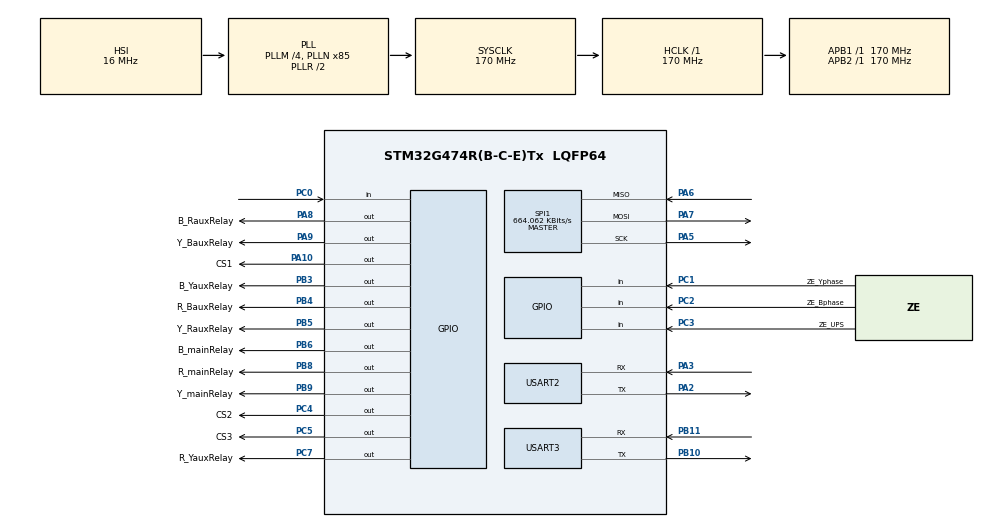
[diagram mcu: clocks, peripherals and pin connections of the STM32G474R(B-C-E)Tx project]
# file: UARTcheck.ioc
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ADC1.Channel-0\#ChannelRegularConversion=ADC_CHANNEL_VBAT
ADC1.NbrOfConversion=1
ADC1.NbrOfConversionFlag=1
ADC1.OffsetNumber-0\#ChannelRegularConversion=ADC_OFFSET_NONE
ADC1.Rank-0\#ChannelRegularConversion=1
ADC1.SamplingTime-0\#ChannelRegularConversion=ADC_SAMPLETIME_2CYCLES_5
ADC1.master=1
Dma.Request0=USART3_RX
Dma.USART3_RX.0.Direction=DMA_PERIPH_TO_MEMORY
Dma.USART3_RX.0.EventEnable=DISABLE
Dma.USART3_RX.0.Instance=DMA1_Channel1
Dma.USART3_RX.0.MemDataAlignment=DMA_MDATAALIGN_BYTE
Dma.USART3_RX.0.MemInc=DMA_MINC_ENABLE
Dma.USART3_RX.0.Mode=DMA_NORMAL
Dma.USART3_RX.0.PeriphDataAlignment=DMA_PDATAALIGN_BYTE
Dma.USART3_RX.0.PeriphInc=DMA_PINC_DISABLE
Dma.USART3_RX.0.Polarity=HAL_DMAMUX_REQ_GEN_RISING
Dma.USART3_RX.0.Priority=DMA_PRIORITY_MEDIUM
Dma.USART3_RX.0.RequestNumber=1
Dma.USART3_RX.0.SignalID=NONE
Dma.USART3_RX.0.SyncEnable=DISABLE
Dma.USART3_RX.0.SyncPolarity=HAL_DMAMUX_SYNC_NO_EVENT
Dma.USART3_RX.0.SyncRequestNumber=1
Dma.USART3_RX.0.SyncSignalID=NONE
Mcu.Family=STM32G4
Mcu.Name=STM32G474R(B-C-E)Tx
Mcu.Package=LQFP64
NVIC.DMA1_Channel1_IRQn=true\:0\:0\:false\:false\:true\:false\:true\:true
NVIC.PriorityGroup=NVIC_PRIORITYGROUP_4
NVIC.USART3_IRQn=true\:0\:0\:false\:false\:true\:true\:true\:true
PA10.GPIO_Label=CS1
PA10.Signal=GPIO_Output
PA2.Mode=Asynchronous
PA2.Signal=USART2_TX
PA3.Mode=Asynchronous
PA3.Signal=USART2_RX
PA5.Mode=Full_Duplex_Master
PA5.Signal=SPI1_SCK
PA6.Mode=Full_Duplex_Master
PA6.Signal=SPI1_MISO
PA7.Mode=Full_Duplex_Master
PA7.Signal=SPI1_MOSI
PA8.GPIO_Label=B_RauxRelay
PA8.Signal=GPIO_Output
PA9.GPIO_Label=Y_BauxRelay
PA9.Signal=GPIO_Output
PB10.Mode=Asynchronous
PB10.Signal=USART3_TX
PB11.Mode=Asynchronous
PB11.Signal=USART3_RX
PB3.GPIO_Label=B_YauxRelay
PB3.Signal=GPIO_Output
PB4.GPIO_Label=R_BauxRelay
PB4.Signal=GPIO_Output
PB5.GPIO_Label=Y_RauxRelay
PB5.Signal=GPIO_Output
PB6.GPIO_Label=B_mainRelay
PB6.Signal=GPIO_Output
PB8-BOOT0.GPIO_Label=R_mainRelay
PB8-BOOT0.Signal=GPIO_Output
PB9.GPIO_Label=Y_mainRelay
PB9.Signal=GPIO_Output
PC0.Signal=GPIO_Input
PC1.GPIO_Label=ZE_Yphase
PC1.Signal=GPIO_Input
PC14-OSC32_IN.Mode=LSE-External-Oscillator
PC14-OSC32_IN.Signal=RCC_OSC32_IN
PC15-OSC32_OUT.Mode=LSE-External-Oscillator
PC15-OSC32_OUT.Signal=RCC_OSC32_OUT
PC2.GPIO_Label=ZE_Bphase
PC2.Signal=GPIO_Input
PC3.GPIO_Label=ZE_UPS
PC3.Signal=GPIO_Input
PC4.GPIO_Label=CS2
PC4.Signal=GPIO_Output
PC5.GPIO_Label=CS3
PC5.Signal=GPIO_Output
PC7.GPIO_Label=R_YauxRelay
PC7.Signal=GPIO_Output
ProjectManager.HeapSize=0x200
ProjectManager.StackSize=0x400
ProjectManager.TargetToolchain=STM32CubeIDE
RCC.ADC12Freq_Value=170000000
RCC.ADC345Freq_Value=170000000
RCC.AHBFreq_Value=170000000
RCC.APB1Freq_Value=170000000
RCC.APB1TimFreq_Value=170000000
RCC.APB2Freq_Value=170000000
RCC.APB2TimFreq_Value=170000000
RCC.CortexFreq_Value=170000000
RCC.EXTERNAL_CLOCK_VALUE=12288000
RCC.HCLKFreq_Value=170000000
RCC.HSE_VALUE=24000000
RCC.HSI48_VALUE=48000000
RCC.HSI_VALUE=16000000
RCC.PLLM=RCC_PLLM_DIV4
RCC.PLLN=85
RCC.RTCClockSelection=RCC_RTCCLKSOURCE_LSE
RCC.SYSCLKFreq_VALUE=170000000
RCC.SYSCLKSource=RCC_SYSCLKSOURCE_PLLCLK
RCC.USBFreq_Value=170000000
RCC.VCOOutputFreq_Value=340000000
RTC.Date=20
RTC.HourFormat=RTC_HOURFORMAT_24
RTC.Hours=12
RTC.Minutes=23
RTC.Month=RTC_MONTH_AUGUST
RTC.WeekDay=RTC_WEEKDAY_THURSDAY
SPI1.BaudRatePrescaler=SPI_BAUDRATEPRESCALER_256
SPI1.CLKPhase=SPI_PHASE_2EDGE
SPI1.CalculateBaudRate=664.062 KBits/s
SPI1.DataSize=SPI_DATASIZE_8BIT
SPI1.Direction=SPI_DIRECTION_2LINES
SPI1.Mode=SPI_MODE_MASTER
SPI1.VirtualType=VM_MASTER
USART2.VirtualMode-Asynchronous=VM_ASYNC
USART3.VirtualMode-Asynchronous=VM_ASYNC
VP_ADC1_Vbat_Input.Mode=IN-Vbat
VP_RTC_VS_RTC_Activate.Mode=RTC_Enabled
VP_RTC_VS_RTC_Calendar.Mode=RTC_Calendar
VP_SYS_VS_DBSignals.Mode=DisableDeadBatterySignals
board=NUCLEO-G474RE

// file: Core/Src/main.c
/* USER CODE BEGIN Header */
/**
  ******************************************************************************
  * @file           : main.c
  * @brief          : Main program body
  ******************************************************************************
  * @attention
  *
  * Copyright (c) 2026 STMicroelectronics.
  * All rights reserved.
  *
  * This software is licensed under terms that can be found in the LICENSE file
  * in the root directory of this software component.
  * If no LICENSE file comes with this software, it is provided AS-IS.
  *
  ******************************************************************************
  */
/* USER CODE END Header */
#include "main.h"

/* USER CODE BEGIN Includes */
#include "stm_selfupdate.h"

#include "Relay_controlling.h"
#include<stdio.h>
#include <string.h>
#include <time.h>

/* USER CODE END Includes */

/* USER CODE BEGIN PD */
#define CALIB_VOL1 14324.957805
#define CALIB_CUR1 301062.271062
#define CALIB_POW1 648.885586
#define CALIB_ENE1 4667.50266786

#define CALIB_VOL2 14374.3938844
#define CALIB_CUR2 345157.509157
#define CALIB_POW2 739.078751
#define CALIB_ENE2 5667.50266786

#define CALIB_VOL3 14388.8458298
#define CALIB_CUR3 304084.249084
#define CALIB_POW3 656.745913
#define CALIB_ENE3 5000.96266786

//#define CALIB_VOL 1
//#define CALIB_CUR 1
//#define CALIB_POW 1
//#define CALIB_ENE 1

/*RX buffer size deceleration*/
#define BUF_SIZE 256

#define OVERLOAD_DELAY 70000

/* USER CODE END PD */

ADC_HandleTypeDef hadc1;

RTC_HandleTypeDef hrtc;

SPI_HandleTypeDef hspi1;

UART_HandleTypeDef huart2;
UART_HandleTypeDef huart3;
DMA_HandleTypeDef hdma_usart3_rx;

/* USER CODE BEGIN PV */
uint8_t setupBL[6];
uint8_t txData[2];
uint8_t rxDataV1[4], rxDataV2[4], rxDataV3[4];
uint8_t rxDataC1[4], rxDataC2[4], rxDataC3[4];
uint8_t rxDataP1[4], rxDataP2[4], rxDataP3[4];
uint8_t rxDataE1[4], rxDataE2[4], rxDataE3[4];
volatile float  voltL1, voltL2, voltL3;
volatile float  curL1, curL2, curL3;
volatile float  powL1, powL2, powL3;
volatile float  eneL1, eneL2, eneL3;

unsigned short uartGoFlag;			//0b->v1, 1b->c1, 2b->p1, 3b->e1, 4b->v2, 5b->c2, 6b->p2, 7b->e2, 8b->v3, 9b->c3, 10b->p3, 11b->e3, 12b->"", 13b->"", 14b->"", 15b->"".
unsigned short relayStatus;
unsigned short contactorStatus;

volatile bool healthyRphase,healthyYphase,healthyBphase;
volatile bool RmainRelayState, YmainRelayState, BmainRelayState, RYauxRelayState, YRauxRelayState, YBauxRelayState, BYauxRelayState, RBauxRelayState, BRauxRelayState, UPSRelayState;
uint8_t Uart3RXbuffer[BUF_SIZE];
typedef struct PhaseProtection {
    bool enabled;
    float highV;   // Volts
    float lowV;    // Volts
    float highI;   // Amps (overload)
}PhaseProtection;

PhaseProtection prot[3];
uint8_t headerProtection = 0XCC, checkSum;
bool protCheckSumMismatch;
uint16_t voltLow[3],voltHigh[3],overload[3];
uint32_t overloadAlertL1StartTime,  overloadAlertL2StartTime, overloadAlertL3StartTime;
bool overloadAlertL1,overloadAlertL2,overloadAlertL3;
uint64_t receivedUnixTime;
bool timeSynced;

//__attribute__((section(".noinit"))) volatile uint32_t bootMagic;
/* USER CODE END PV */

void SystemClock_Config(void);
static void MX_GPIO_Init(void);
static void MX_DMA_Init(void);
static void MX_USART2_UART_Init(void);
static void MX_SPI1_Init(void);
static void MX_USART3_UART_Init(void);
static void MX_RTC_Init(void);
static void MX_ADC1_Init(void);
/* USER CODE BEGIN PFP */
int __io_putchar(int ch)
{
    HAL_UART_Transmit(&huart2, (uint8_t *)&ch, 1, HAL_MAX_DELAY);
    return ch;
}

/* USER CODE END PFP */

/* USER CODE BEGIN 0 */
uint8_t validateChecksum(uint8_t high, uint8_t mid, uint8_t low, uint8_t checksum){
	return checksum == (uint8_t) ~((high+mid+low)&0XFF);

}

void UARTcollection(uint16_t Size) {
	bool transfer = false;

	for (uint16_t i = 0; i < Size; i++) {
		if (Uart3RXbuffer[i] == headerProtection && (Size - i) >= 41) {
			transfer = true;
		}
	}
	checkSum = 0;
	for (int i = 1; i < 40; i++) {
		checkSum += Uart3RXbuffer[i];
	}
	checkSum = (~(checkSum & 0XFF));

	if (transfer && (checkSum == Uart3RXbuffer[40])) {
		prot[0].enabled = Uart3RXbuffer[1];
		memcpy((&prot[0].lowV), &Uart3RXbuffer[2], 4);
		memcpy((&prot[0].highV), &Uart3RXbuffer[6], 4);
		memcpy((&prot[0].highI), &Uart3RXbuffer[10], 4);
		prot[1].enabled = Uart3RXbuffer[14];
		memcpy((&prot[1].lowV), &Uart3RXbuffer[15], 4);
		memcpy((&prot[1].highV), &Uart3RXbuffer[19], 4);
		memcpy((&prot[1].highI), &Uart3RXbuffer[23], 4);
		prot[2].enabled = Uart3RXbuffer[27];
		memcpy((&prot[2].lowV), &Uart3RXbuffer[28], 4);
		memcpy((&prot[2].highV), &Uart3RXbuffer[32], 4);
		memcpy((&prot[2].highI), &Uart3RXbuffer[36], 4);
	}else{
		protCheckSumMismatch=true;
	}

//	printf(" L1 %d ->%f  %f  %f   \r\n", prot[0].enabled, prot[0].lowV,
//			prot[0].highV, prot[0].highI);
//	printf(" L2 %d ->%f  %f  %f   \r\n", prot[1].enabled, prot[1].lowV,
//			prot[1].highV, prot[1].highI);
//	printf(" L3 %d ->%f  %f  %f   \r\n", prot[2].enabled, prot[2].lowV,
//			prot[2].highV, prot[2].highI);

}

void NTPsyncTimeToRTC(uint16_t Size){
//	printf("Time Synced process is in testing mode\r\n");
//	for (int i = 0; i < 10; i++) {
//		printf("%d ---->%X\r\n", i, Uart3RXbuffer[i]);
//	}
//	printf("\r\n");

	uint16_t i;
	for (i = 0; i < Size/*-i>=10*/; i++) {
		if (Uart3RXbuffer[i] == 0XDD && (Size - i) >= 10) {
				receivedUnixTime =
			    ((uint64_t)Uart3RXbuffer[i+1] << 0)  |
			    ((uint64_t)Uart3RXbuffer[i+2] << 8)  |
			    ((uint64_t)Uart3RXbuffer[i+3] << 16) |
			    ((uint64_t)Uart3RXbuffer[i+4] << 24) |
			    ((uint64_t)Uart3RXbuffer[i+5] << 32) |
			    ((uint64_t)Uart3RXbuffer[i+6] << 40) |
			    ((uint64_t)Uart3RXbuffer[i+7] << 48) |
			    ((uint64_t)Uart3RXbuffer[i+8] << 56);
			timeSynced =true;
//			printf("%lu\r\n",(unsigned long)receivedUnixTime);
			return;
		}
	}
	return;

//	time_t epoch = receivedUinxTime;
//	struct tm* time = gmtime(&epoch);

}

void HAL_UARTEx_RxEventCallback(UART_HandleTypeDef *huart, uint16_t Size) {
	if (huart->Instance == USART3) {

			for (uint16_t i = 0; i < Size; i++)
			{
		    	printf("%02X ", Uart3RXbuffer[i]);
			}
			printf("Coming inside\r\n");
			NTPsyncTimeToRTC(Size);
			suOnRxBurst(Uart3RXbuffer, Size); // <-- add: catch AA55A55A / BB44B44B
			UARTcollection(Size);
			HAL_UARTEx_ReceiveToIdle_DMA(&huart3, Uart3RXbuffer, BUF_SIZE);
			__HAL_DMA_DISABLE_IT(huart3.hdmarx, DMA_IT_HT);

	}

}

/* USER CODE END 0 */

int main(void)
{

  /* MCU Configuration--------------------------------------------------------*/

  /* Reset of all peripherals, Initializes the Flash interface and the Systick. */
  HAL_Init();

  /* Configure the system clock */
  SystemClock_Config();

  /* Initialize all configured peripherals */
  MX_GPIO_Init();
  MX_DMA_Init();
  MX_USART2_UART_Init();
  MX_SPI1_Init();
  MX_USART3_UART_Init();
  MX_RTC_Init();
  MX_ADC1_Init();
  /* USER CODE BEGIN 2 */
//setupBL[0] = 0xA5;
//setupBL[1] = 0x15;
//setupBL[2] = 0x00;
//setupBL[3] = 0x00;
//setupBL[4] = 0x20;
//setupBL[5] = 0x23;

  HAL_UARTEx_ReceiveToIdle_DMA(&huart3, Uart3RXbuffer, BUF_SIZE);
  __HAL_DMA_DISABLE_IT(huart3.hdmarx,DMA_IT_HT);

//  HAL_RTC_Init(&hrtc);
  HAL_PWR_EnableBkUpAccess();

  RTC_TimeTypeDef rtcTime;
  RTC_DateTypeDef rtcDate;

/*To know the status of the boot function properly worked or not!!! just for the testing purpose*/

//  HAL_FLASH_Unlock();
//  FLASH_EraseInitTypeDef er = {0}; uint32_t pe;
//  er.TypeErase = FLASH_TYPEERASE_PAGES;
//  er.Banks   = (FLASH->OPTR & FLASH_OPTR_BFB2) ? FLASH_BANK_1 : FLASH_BANK_2;
//  er.Page = 0; er.NbPages = 1;
//  HAL_FLASHEx_Erase(&er, &pe);
//  HAL_FLASH_Program(FLASH_TYPEPROGRAM_DOUBLEWORD, 0x08040000UL, 0x1122334455667788ULL);
//  HAL_FLASH_Lock();
//  uint64_t rb = *(volatile uint64_t *)0x08040000UL;
//  printf("bank self-test: %s\r\n", (rb == 0x1122334455667788ULL) ? "OK" : "FAIL");

  /* USER CODE END 2 */

  /* Infinite loop */
  /* USER CODE BEGIN WHILE */
  while (1)
  {

		if (timeSynced) {
			time_t setUnixTime = (time_t)(receivedUnixTime + 19800);
			struct tm time;
			gmtime_r(&setUnixTime, &time);
			rtcTime.Hours = time.tm_hour;
			rtcTime.Minutes = time.tm_min;
			rtcTime.Seconds = time.tm_sec;
			rtcTime.SubSeconds = 0x0;
			rtcTime.TimeFormat = RTC_HOURFORMAT12_AM;
			rtcTime.DayLightSaving = RTC_DAYLIGHTSAVING_NONE;
			rtcTime.StoreOperation = RTC_STOREOPERATION_RESET;

			rtcDate.WeekDay = time.tm_wday;
			rtcDate.Month = time.tm_mon + 1;
			rtcDate.Date = time.tm_mday;
			rtcDate.Year = time.tm_year - 100;  // 2026 -> 26

			HAL_RTC_SetTime(&hrtc, &rtcTime, RTC_FORMAT_BCD);
			HAL_RTC_SetDate(&hrtc, &rtcDate, RTC_FORMAT_BCD);
			timeSynced = false;

			printf("Time: %02d:%02d:%02d\r\n", time.tm_hour, time.tm_min,time.tm_sec);
			printf("Date: %02d/%02d/20%02d\r\n", time.tm_mday, time.tm_mon, time.tm_year);

		}

	  HAL_RTC_GetTime(&hrtc, &rtcTime, RTC_FORMAT_BIN);
	  HAL_RTC_GetDate(&hrtc, &rtcDate, RTC_FORMAT_BIN);
	  		printf("Time: %02d:%02d:%02d\r\n", rtcTime.Hours, rtcTime.Minutes,rtcTime.Seconds);
	  		printf("Date: %02d/%02d/20%02d\r\n", rtcDate.Date, rtcDate.Month, rtcDate.Year);

		/*Flash process with custom boot loader*/
		suService();       // <-- runs the (blocking) receive/apply when flagged(continuously monitor whether the ESP is sending the firmware for update or not! )
		if (suBusy())
			continue;      // <-- not obtain data from BL0939 and won't transmit metering  while updating the firmware

		/*End of this individual function*/

	  /*Data collecting from the BL0939 IC via SPI protocol communication for the L1 L2 L3*/

	  /*----------------------------------------L1------------------------------------------------------*/

	  	txData[0] = 0x55;

		//printf("data-> %d, %d, %d, %d\r\n",rxData[0], rxData[1], rxData[2], rxData[3]);

		HAL_GPIO_WritePin(CS1_GPIO_Port, CS1_Pin, SET);
//		HAL_SPI_Transmit(&hspi1, setupBL, 6, HAL_MAX_DELAY);

		txData[1] = 0x06;
		HAL_SPI_Transmit(&hspi1, txData, 2, HAL_MAX_DELAY);
		HAL_SPI_Receive(&hspi1, rxDataV1, 4, HAL_MAX_DELAY);

		txData[1] = 0x04;
		HAL_SPI_Transmit(&hspi1, txData, 2, HAL_MAX_DELAY);
		HAL_SPI_Receive(&hspi1, rxDataC1, 4, HAL_MAX_DELAY);

		txData[1] = 0x08;
		HAL_SPI_Transmit(&hspi1, txData, 2, HAL_MAX_DELAY);
		HAL_SPI_Receive(&hspi1, rxDataP1, 4, HAL_MAX_DELAY);

		txData[1] = 0x0A;
		HAL_SPI_Transmit(&hspi1, txData, 2, HAL_MAX_DELAY);
		HAL_SPI_Receive(&hspi1, rxDataE1, 4, HAL_MAX_DELAY);

		HAL_GPIO_WritePin(CS1_GPIO_Port, CS1_Pin, RESET);

//		printf("data1-> %X, %X, %X, %X\r\n", rxDataP1[0], rxDataP1[1], rxDataP1[2],rxDataP1[3]);

		if (validateChecksum(rxDataV1[0], rxDataV1[1], rxDataV1[2], rxDataV1[3]) == 0) {
			voltL1 = ((rxDataV1[0] << 16 | rxDataV1[1] << 8 | rxDataV1[2])/CALIB_VOL1);
			uartGoFlag = uartGoFlag | 0X0001;
//			printf("Vol1 = %.2f\r\n", voltL1);
		}
		if (validateChecksum(rxDataC1[0], rxDataC1[1], rxDataC1[2], rxDataC1[3]) == 0) {
			curL1 = ((rxDataC1[0] << 16 | rxDataC1[1] << 8 | rxDataC1[2])/CALIB_CUR1);
			uartGoFlag = uartGoFlag | 0X0002;
//			printf("curL1 = %.3f \r\n", curL1);
		}
		if (validateChecksum(rxDataP1[0], rxDataP1[1], rxDataP1[2], rxDataP1[3]) == 0) {
			powL1 = ((rxDataP1[0] << 16 | rxDataP1[1] << 8 | rxDataP1[2])/CALIB_POW1);
			uartGoFlag = uartGoFlag | 0X0004;
//			printf("powL1 = %.2f \r\n", powL1);
		}
		if (validateChecksum(rxDataE1[0], rxDataE1[1], rxDataE1[2], rxDataE1[3]) == 0) {
			eneL1 = ((rxDataE1[0] << 16 | rxDataE1[1] << 8 | rxDataE1[2]) / CALIB_ENE1);
			uartGoFlag = uartGoFlag | 0X0008;
//			printf("eneL1 = %.3f \r\n", eneL1);
		}

//		printf("\r\n");

		  /*----------------------------------------L2------------------------------------------------------*/
		txData[0] = 0x55;

		HAL_GPIO_WritePin(CS2_GPIO_Port, CS2_Pin, SET);
//		HAL_SPI_Transmit(&hspi1, setupBL, 6, HAL_MAX_DELAY);

		txData[1] = 0x06;
		HAL_SPI_Transmit(&hspi1, txData, 2, HAL_MAX_DELAY);
		HAL_SPI_Receive(&hspi1, rxDataV2, 4, HAL_MAX_DELAY);

		txData[1] = 0x04;
		HAL_SPI_Transmit(&hspi1, txData, 2, HAL_MAX_DELAY);
		HAL_SPI_Receive(&hspi1, rxDataC2, 4, HAL_MAX_DELAY);

		txData[1] = 0x08;
		HAL_SPI_Transmit(&hspi1, txData, 2, HAL_MAX_DELAY);
		HAL_SPI_Receive(&hspi1, rxDataP2, 4, HAL_MAX_DELAY);

		txData[1] = 0x0A;
		HAL_SPI_Transmit(&hspi1, txData, 2, HAL_MAX_DELAY);
		HAL_SPI_Receive(&hspi1, rxDataE2, 4, HAL_MAX_DELAY);

		HAL_GPIO_WritePin(CS2_GPIO_Port, CS2_Pin, RESET);

//		printf("data2-> %X, %X, %X, %X\r\n", rxDataP2[0], rxDataP2[1], rxDataP2[2],rxDataP2[3]);

		if (validateChecksum(rxDataV2[0], rxDataV2[1], rxDataV2[2], rxDataV2[3]) == 0) {
			voltL2 = ((rxDataV2[0] << 16 | rxDataV2[1] << 8 | rxDataV2[2]) / CALIB_VOL2);
			uartGoFlag = uartGoFlag | 0X0010;
//			printf("Vol2 = %.2f\r\n", voltL2);
		}
		if (validateChecksum(rxDataC2[0], rxDataC2[1], rxDataC2[2], rxDataC2[3]) == 0) {
			curL2 = ((rxDataC2[0] << 16 | rxDataC2[1] << 8 | rxDataC2[2]) / CALIB_CUR2);
			uartGoFlag = uartGoFlag | 0X0020;
//			printf("curL2 = %.3f \r\n", curL2);
		}
		if (validateChecksum(rxDataP2[0], rxDataP2[1], rxDataP2[2], rxDataP2[3]) == 0) {
			powL2 = ((rxDataP2[0] << 16 | rxDataP2[1] << 8 | rxDataP2[2]) / CALIB_POW2);
			uartGoFlag = uartGoFlag | 0X0040;
//			printf("powL2 = %.2f \r\n", powL2);
		}
		if (validateChecksum(rxDataE2[0], rxDataE2[1], rxDataE2[2], rxDataE2[3]) == 0) {
			eneL2 = ((rxDataE2[0] << 16 | rxDataE2[1] << 8 | rxDataE2[2]) / CALIB_ENE2);
			uartGoFlag = uartGoFlag | 0X0080;
//			printf("eneL2 = %.3f \r\n", eneL2);
		}

//		printf("\r\n");

		  /*----------------------------------------L3------------------------------------------------------*/
		txData[0] = 0x55;

		HAL_GPIO_WritePin(CS3_GPIO_Port, CS3_Pin, SET);

//		HAL_SPI_Transmit(&hspi1, setupBL, 6, HAL_MAX_DELAY);

		txData[1] = 0x06;
		HAL_SPI_Transmit(&hspi1, txData, 2, HAL_MAX_DELAY);
		HAL_SPI_Receive(&hspi1, rxDataV3, 4, HAL_MAX_DELAY);

		txData[1] = 0x04;
		HAL_SPI_Transmit(&hspi1, txData, 2, HAL_MAX_DELAY);
		HAL_SPI_Receive(&hspi1, rxDataC3, 4, HAL_MAX_DELAY);

		txData[1] = 0x08;
		HAL_SPI_Transmit(&hspi1, txData, 2, HAL_MAX_DELAY);
		HAL_SPI_Receive(&hspi1, rxDataP3, 4, HAL_MAX_DELAY);

		txData[1] = 0x0A;
		HAL_SPI_Transmit(&hspi1, txData, 2, HAL_MAX_DELAY);
		HAL_SPI_Receive(&hspi1, rxDataE3, 4, HAL_MAX_DELAY);

		HAL_GPIO_WritePin(CS3_GPIO_Port, CS3_Pin, RESET);

//		printf("data3-> %X, %X, %X, %X\r\n", rxDataP3[0], rxDataP3[1], rxDataP3[2], rxDataP3[3]);

		if (validateChecksum(rxDataV3[0], rxDataV3[1], rxDataV3[2], rxDataV3[3]) == 0) {
			voltL3 = ((rxDataV3[0] << 16 | rxDataV3[1] << 8 | rxDataV3[2]) / CALIB_VOL3);
			uartGoFlag = uartGoFlag | 0X0100;
//			printf("Vol3 = %.2f\r\n", voltL3);
		}
		if (validateChecksum(rxDataC3[0], rxDataC3[1], rxDataC3[2], rxDataC3[3]) == 0) {
			curL3 = ((rxDataC3[0] << 16 | rxDataC3[1] << 8 | rxDataC3[2]) / CALIB_CUR3);
			uartGoFlag = uartGoFlag | 0X0200;
//			printf("curL3 = %.3f \r\n", curL3);
		}
		if (validateChecksum(rxDataP3[0], rxDataP3[1], rxDataP3[2], rxDataP3[3]) == 0) {
			powL3 = ((rxDataP3[0] << 16 | rxDataP3[1] << 8 | rxDataP3[2]) / CALIB_POW3);
			uartGoFlag = uartGoFlag | 0X0400;
//			printf("powL3 = %.2f \r\n", powL3);
		}
		if (validateChecksum(rxDataE3[0], rxDataE3[1], rxDataE3[2], rxDataE3[3]) == 0) {
			eneL3 = ((rxDataE3[0] << 16 | rxDataE3[1] << 8 | rxDataE3[2]) / CALIB_ENE3);
			uartGoFlag = uartGoFlag | 0X0800;
//			printf("eneL3 = %.3f \r\n", eneL3);
		}

//		printf("\r\n");

		/*End of this individual function*/

		/*Protection Settings assigning condition with hiding noise of volt and current*/

		if (curL1 < 0.08) {
			curL1 = 0;
			powL1 = 0;
		}
		if (curL2 < 0.08) {
			curL2 = 0;
			powL2 = 0;
		}
		if (curL3 < 0.08) {
			curL3 = 0;
			powL3 = 0;
		}

		if (prot[0].enabled) {
			voltLow[0] = prot[0].lowV;
			voltHigh[0] = prot[0].highV;
			overload[0] = prot[0].highI;
		} else {
			voltLow[0] = 170;
			voltHigh[0] = 270;
			overload[0] = 20;
		}
		if (prot[1].enabled) {
			voltLow[1] = prot[1].lowV;
			voltHigh[1] = prot[1].highV;
			overload[1] = prot[1].highI;
		} else {
			voltLow[1] = 170;
			voltHigh[1] = 270;
			overload[1] = 20;
		}
		if (prot[2].enabled) {
			voltLow[2] = prot[2].lowV;
			voltHigh[2] = prot[2].highV;
			overload[2] = prot[2].highI;
		} else {
			voltLow[2] = 170;
			voltHigh[2] = 270;
			overload[2] = 20;
		}
//			Testing purpose:
//				 printf(" L1 %d ->%d  %d  %d   \r\n",prot[0].enabled,voltLow[0],voltHigh[0],overload[0]);
//				 printf(" L2 %d ->%d  %d  %d   \r\n",prot[1].enabled,voltLow[1],voltHigh[1],overload[1]);
//				 printf(" L3 %d ->%d  %d  %d   \r\n",prot[2].enabled,voltLow[2],voltHigh[2],overload[2]);

		/*End of this individual function*/

		/*Phase health check with voltage and overload*/
		healthyRphase = ((voltL1 > voltLow[0]) && (voltL1 < voltHigh[0])) ? 1 : 0;
		healthyYphase = ((voltL2 > voltLow[1]) && (voltL2 < voltHigh[1])) ? 1 : 0;
		healthyBphase = ((voltL3 > voltLow[2]) && (voltL3 < voltHigh[2])) ? 1 : 0;

		if (healthyRphase && (curL1 > overload[0])) {
			if (!overloadAlertL1StartTime) {
				overloadAlertL1StartTime = HAL_GetTick();
			}
			if (HAL_GetTick() - overloadAlertL1StartTime >= OVERLOAD_DELAY) {
				overloadAlertL1 = true;
			}
		} else {
			overloadAlertL1StartTime = 0;
		}

		if (healthyYphase && (curL2 > overload[1])) {
			if (!overloadAlertL2StartTime) {
				overloadAlertL2StartTime = HAL_GetTick();
			}
			if (HAL_GetTick() - overloadAlertL2StartTime >= OVERLOAD_DELAY) {
				overloadAlertL2 = true;
			}
		} else {
			overloadAlertL2StartTime = 0;
		}

		if (healthyBphase && (curL1 > overload[2])) {
			if (!overloadAlertL3StartTime) {
				overloadAlertL3StartTime = HAL_GetTick();
			}

			if (HAL_GetTick() - overloadAlertL3StartTime >= OVERLOAD_DELAY) {
				overloadAlertL3 = true;
			}
		} else {
			overloadAlertL3StartTime = 0;
		}

		/*Resume to recover the relay State from the overload alert*/
		//Resume for the Recovery from overload of all phases.After remove this comment once you done the recovery process
//		if (overloadAlertL1 && resumel1) {
//			overloadAlertL1 = false;
//			overloadAlertL1StartTime =0;
//		}
//
//		if (overloadAlertL2 && resumel2) {
//			overloadAlertL2 = false;
//			overloadAlertL2StartTime =0;
//		}
//
//		if (overloadAlertL3 && resumel3) {
//			overloadAlertL3 = false;
//			overloadAlertL3StartTime =0;
//		}

		/*End of this individual function*/

		/*Switch-over Management*/

																												// | ! |    Overload management has been done by the R-phase only. Will test implement this to other phases if the test is succeed.

				if (!healthyRphase || overloadAlertL1) {
					if (RmainRelayState) {
						// Function to OFF the relay once, inside it should OFF the Aux of the R main relay
						RmainRelayTurnOFF();
						// give some delay if not feedback
//						HAL_Delay(500);
					}
					if (healthyYphase && healthyBphase && !YRauxRelayState
							&& !BRauxRelayState && !overloadAlertL1) {		//prevention condition
						// choose any one of the phase with the help of the current
						// with that phase ON the the Aux to the the R phase once
						/*depends on the current Aux will switch over*/
						if (curL2 < curL3) {
							YRauxRelayTurnON();
						} else if (curL3 < curL2) {
							BRauxRelayTurnON();
						} else {
							YRauxRelayTurnON();
						}
					} else if(!overloadAlertL1) {
						if (healthyYphase && !YRauxRelayState && !BRauxRelayState) {
							// ON the Y phase Aux to the R main once
							YRauxRelayTurnON();
						} else if (healthyBphase && !YRauxRelayState
								&& !BRauxRelayState) {
							// ON the B phase Aux to the R main once
							BRauxRelayTurnON();
						} else {
							//not to change over
						}
					}
				} else if(healthyRphase && !overloadAlertL1) {
					if (!RmainRelayState) {
						if (YRauxRelayState || BRauxRelayState) {
							// function to OFF the all Aux from other phase to R phases
							RincomingAuxRelayOFF();
//							HAL_Delay(500);
						}

						// give some delay if not feedback
						// Turn ON the R main relay
						RmainRelayTurnON();
					}

				}

				if (!healthyYphase || overloadAlertL2) {
					if (YmainRelayState) {
						// Function to OFF the relay once, inside it should OFF the Aux of the Y main relay
						YmainRelayTurnOFF();
						// give some delay if not feedback
//						HAL_Delay(500);
					}
					if (healthyRphase && healthyBphase && !RYauxRelayState
							&& !BYauxRelayState && !overloadAlertL2) { 		//prevention condition
						// choose any one of the phase with the help of the current
						// with that phase ON the the Aux to the the R phase once
						/*depends on the current Aux will switch over*/
						if (curL1 < curL3) {
							RYauxRelayTurnON();
						} else if (curL3 < curL1) {
							BYauxRelayTurnON();
						} else {
							RYauxRelayTurnON();
						}

					} else if(!overloadAlertL2){
						if (healthyRphase && !RYauxRelayState && !BYauxRelayState) {
							// ON the Y phase Aux to the R main once
							RYauxRelayTurnON();
						} else if (healthyBphase && !RYauxRelayState
								&& !BYauxRelayState) {
							// ON the B phase Aux to the R main once
							BYauxRelayTurnON();
						} else {
							//not to change over
						}

					}
				} else if(healthyYphase && !overloadAlertL2) {
					if (!YmainRelayState) {
						if (RYauxRelayState || BYauxRelayState) {
							// function to OFF the all Aux from other phase to Y phases
							YincomingAuxRelayOFF();
							// give some delay if not feedback
//							HAL_Delay(500);
						}
						// Turn ON the Y main relay
						YmainRelayTurnON();

					}
				}

				if (!healthyBphase || overloadAlertL3) {
					if (BmainRelayState) {
						// Function to OFF the relay once, inside it should OFF the Aux of the B main relay
						BmainRelayTurnOFF();
						// give some delay if not feedback
//						HAL_Delay(500);
					}
					if (healthyRphase && healthyYphase && !RBauxRelayState
							&& !YBauxRelayState && !overloadAlertL3) {		//prevention condition
						// choose any one of the phase with the help of the current
						// with that phase ON the the Aux to the the R phase once
						/*depends on the current Aux will switch over*/
						if (curL1 < curL2) {
							RBauxRelayTurnON();
						} else if (curL3 < curL1) {
							YBauxRelayTurnON();
						} else {
							RBauxRelayTurnON();
						}

					} else if(!overloadAlertL3) {
						if (healthyRphase && !RBauxRelayState && !YBauxRelayState) {
							// ON the Y phase Aux to the R main once
							RBauxRelayTurnON();
						} else if (healthyYphase && !RBauxRelayState
								&& !YBauxRelayState) {
							// ON the B phase Aux to the R main once
							YBauxRelayTurnON();
						} else {
							//not to change over
						}

					}
				} else if(healthyBphase && !overloadAlertL3) {
					if (!BmainRelayState) {
						if (!RBauxRelayState || !YBauxRelayState) {
							// function to OFF the all Aux from other phase to B phases
							BincomingAuxRelayOFF();
							// give some delay if not feedback
//							HAL_Delay(500);
						}
						// Turn ON the B main relay
						BmainRelayTurnON();
					}

				}
				/*End of this individual function*/

				/*UART Sending: Data which are gathered from the BL is transmitting to ESP via UART*/
		/*While sending the UART the values validate with the "uartGoFlag" variable and then go for it*/

		if (uartGoFlag & 0X0FFF) {
			HAL_UART_Transmit(&huart3, (uint8_t*) "STM", 4, 10);
			uint8_t transmit[38];
			relayStatus = 0;
			relayStatus |= RmainRelayState << 0;
			relayStatus |= YmainRelayState << 1;
			relayStatus |= BmainRelayState << 2;
			relayStatus |= RYauxRelayState << 3;
			relayStatus |= YRauxRelayState << 4;
			relayStatus |= YBauxRelayState << 5;
			relayStatus |= BYauxRelayState << 6;
			relayStatus |= RBauxRelayState << 7;
			relayStatus |= BRauxRelayState << 8;
			relayStatus |= UPSRelayState   << 9;
			memcpy(transmit, rxDataV1, 3);
			memcpy((&transmit[3]), &rxDataV2, 3);
			memcpy((&transmit[6]), &rxDataV3, 3);
			memcpy((&transmit[9]), &rxDataC1, 3);
			memcpy((&transmit[12]), &rxDataC2, 3);
			memcpy((&transmit[15]), &rxDataC3, 3);
			memcpy((&transmit[18]), &rxDataP1, 3);
			memcpy((&transmit[21]), &rxDataP2, 3);
			memcpy((&transmit[24]), &rxDataP3, 3);
			memcpy((&transmit[27]), &rxDataE1, 3);
			memcpy((&transmit[30]), &rxDataE2, 3);
			memcpy((&transmit[33]), &rxDataE3, 3);
			memcpy((&transmit[36]), &relayStatus, 2);
			HAL_UART_Transmit(&huart3, (uint8_t*) &transmit, sizeof(transmit),10);
			uartGoFlag = 0;
		}

		/*Acknowledge or Resent commends from STM to ESP via UART*/
//		if (!(prot[0].highI) || protCheckSumMismatch ){
//			HAL_UART_Transmit(&huart3,(uint8_t*)&headerProtection,1,10);
//			protCheckSumMismatch = false;
//		}
		/*End of this individual function*/

    /* USER CODE END WHILE */

  }
}

void SystemClock_Config(void)
{
  RCC_OscInitTypeDef RCC_OscInitStruct = {0};
  RCC_ClkInitTypeDef RCC_ClkInitStruct = {0};

  /** Configure the main internal regulator output voltage
  */
  HAL_PWREx_ControlVoltageScaling(PWR_REGULATOR_VOLTAGE_SCALE1_BOOST);

  /** Configure LSE Drive Capability
  */
  HAL_PWR_EnableBkUpAccess();
  __HAL_RCC_LSEDRIVE_CONFIG(RCC_LSEDRIVE_LOW);

  /** Initializes the RCC Oscillators according to the specified parameters
  * in the RCC_OscInitTypeDef structure.
  */
  RCC_OscInitStruct.OscillatorType = RCC_OSCILLATORTYPE_HSI|RCC_OSCILLATORTYPE_LSE;
  RCC_OscInitStruct.LSEState = RCC_LSE_ON;
  RCC_OscInitStruct.HSIState = RCC_HSI_ON;
  RCC_OscInitStruct.HSICalibrationValue = RCC_HSICALIBRATION_DEFAULT;
  RCC_OscInitStruct.PLL.PLLState = RCC_PLL_ON;
  RCC_OscInitStruct.PLL.PLLSource = RCC_PLLSOURCE_HSI;
  RCC_OscInitStruct.PLL.PLLM = RCC_PLLM_DIV4;
  RCC_OscInitStruct.PLL.PLLN = 85;
  RCC_OscInitStruct.PLL.PLLP = RCC_PLLP_DIV2;
  RCC_OscInitStruct.PLL.PLLQ = RCC_PLLQ_DIV2;
  RCC_OscInitStruct.PLL.PLLR = RCC_PLLR_DIV2;
  if (HAL_RCC_OscConfig(&RCC_OscInitStruct) != HAL_OK)
  {
    Error_Handler();
  }

  /** Initializes the CPU, AHB and APB buses clocks
  */
  RCC_ClkInitStruct.ClockType = RCC_CLOCKTYPE_HCLK|RCC_CLOCKTYPE_SYSCLK
                              |RCC_CLOCKTYPE_PCLK1|RCC_CLOCKTYPE_PCLK2;
  RCC_ClkInitStruct.SYSCLKSource = RCC_SYSCLKSOURCE_PLLCLK;
  RCC_ClkInitStruct.AHBCLKDivider = RCC_SYSCLK_DIV1;
  RCC_ClkInitStruct.APB1CLKDivider = RCC_HCLK_DIV1;
  RCC_ClkInitStruct.APB2CLKDivider = RCC_HCLK_DIV1;

  if (HAL_RCC_ClockConfig(&RCC_ClkInitStruct, FLASH_LATENCY_4) != HAL_OK)
  {
    Error_Handler();
  }
}

static void MX_ADC1_Init(void)
{

  ADC_MultiModeTypeDef multimode = {0};
  ADC_ChannelConfTypeDef sConfig = {0};

  /** Common config
  */
  hadc1.Instance = ADC1;
  hadc1.Init.ClockPrescaler = ADC_CLOCK_SYNC_PCLK_DIV4;
  hadc1.Init.Resolution = ADC_RESOLUTION_12B;
  hadc1.Init.DataAlign = ADC_DATAALIGN_RIGHT;
  hadc1.Init.GainCompensation = 0;
  hadc1.Init.ScanConvMode = ADC_SCAN_DISABLE;
  hadc1.Init.EOCSelection = ADC_EOC_SINGLE_CONV;
  hadc1.Init.LowPowerAutoWait = DISABLE;
  hadc1.Init.ContinuousConvMode = DISABLE;
  hadc1.Init.NbrOfConversion = 1;
  hadc1.Init.DiscontinuousConvMode = DISABLE;
  hadc1.Init.ExternalTrigConv = ADC_SOFTWARE_START;
  hadc1.Init.ExternalTrigConvEdge = ADC_EXTERNALTRIGCONVEDGE_NONE;
  hadc1.Init.DMAContinuousRequests = DISABLE;
  hadc1.Init.Overrun = ADC_OVR_DATA_PRESERVED;
  hadc1.Init.OversamplingMode = DISABLE;
  if (HAL_ADC_Init(&hadc1) != HAL_OK)
  {
    Error_Handler();
  }

  /** Configure the ADC multi-mode
  */
  multimode.Mode = ADC_MODE_INDEPENDENT;
  if (HAL_ADCEx_MultiModeConfigChannel(&hadc1, &multimode) != HAL_OK)
  {
    Error_Handler();
  }

  /** Configure Regular Channel
  */
  sConfig.Channel = ADC_CHANNEL_VBAT;
  sConfig.Rank = ADC_REGULAR_RANK_1;
  sConfig.SamplingTime = ADC_SAMPLETIME_2CYCLES_5;
  sConfig.SingleDiff = ADC_SINGLE_ENDED;
  sConfig.OffsetNumber = ADC_OFFSET_NONE;
  sConfig.Offset = 0;
  if (HAL_ADC_ConfigChannel(&hadc1, &sConfig) != HAL_OK)
  {
    Error_Handler();
  }

}

static void MX_RTC_Init(void)
{

//  RTC_TimeTypeDef sTime = {0};
//  RTC_DateTypeDef sDate = {0};

  /** Initialize RTC Only
  */
  hrtc.Instance = RTC;
  hrtc.Init.HourFormat = RTC_HOURFORMAT_24;
  hrtc.Init.AsynchPrediv = 127;
  hrtc.Init.SynchPrediv = 255;
  hrtc.Init.OutPut = RTC_OUTPUT_DISABLE;
  hrtc.Init.OutPutRemap = RTC_OUTPUT_REMAP_NONE;
  hrtc.Init.OutPutPolarity = RTC_OUTPUT_POLARITY_HIGH;
  hrtc.Init.OutPutType = RTC_OUTPUT_TYPE_OPENDRAIN;
  hrtc.Init.OutPutPullUp = RTC_OUTPUT_PULLUP_NONE;
  if (HAL_RTC_Init(&hrtc) != HAL_OK)
  {
    Error_Handler();
  }

  /** Initialize RTC and set the Time and Date
  */
//  sTime.Hours = 0x12;
//  sTime.Minutes = 0x23;
//  sTime.Seconds = 0x0;
//  sTime.SubSeconds = 0x0;
//  sTime.DayLightSaving = RTC_DAYLIGHTSAVING_NONE;
//  sTime.StoreOperation = RTC_STOREOPERATION_RESET;
//  if (HAL_RTC_SetTime(&hrtc, &sTime, RTC_FORMAT_BCD) != HAL_OK)
//  {
//    Error_Handler();
//  }
//  sDate.WeekDay = RTC_WEEKDAY_THURSDAY;
//  sDate.Month = RTC_MONTH_AUGUST;
//  sDate.Date = 0x20;
//  sDate.Year = 0x0;

//  if (HAL_RTC_SetDate(&hrtc, &sDate, RTC_FORMAT_BCD) != HAL_OK)
//  {
//    Error_Handler();
//  }

}

static void MX_SPI1_Init(void)
{

  /* SPI1 parameter configuration*/
  hspi1.Instance = SPI1;
  hspi1.Init.Mode = SPI_MODE_MASTER;
  hspi1.Init.Direction = SPI_DIRECTION_2LINES;
  hspi1.Init.DataSize = SPI_DATASIZE_8BIT;
  hspi1.Init.CLKPolarity = SPI_POLARITY_LOW;
  hspi1.Init.CLKPhase = SPI_PHASE_2EDGE;
  hspi1.Init.NSS = SPI_NSS_SOFT;
  hspi1.Init.BaudRatePrescaler = SPI_BAUDRATEPRESCALER_256;
  hspi1.Init.FirstBit = SPI_FIRSTBIT_MSB;
  hspi1.Init.TIMode = SPI_TIMODE_DISABLE;
  hspi1.Init.CRCCalculation = SPI_CRCCALCULATION_DISABLE;
  hspi1.Init.CRCPolynomial = 7;
  hspi1.Init.CRCLength = SPI_CRC_LENGTH_DATASIZE;
  hspi1.Init.NSSPMode = SPI_NSS_PULSE_DISABLE;
  if (HAL_SPI_Init(&hspi1) != HAL_OK)
  {
    Error_Handler();
  }

}

static void MX_USART2_UART_Init(void)
{

  huart2.Instance = USART2;
  huart2.Init.BaudRate = 115200;
  huart2.Init.WordLength = UART_WORDLENGTH_8B;
  huart2.Init.StopBits = UART_STOPBITS_1;
  huart2.Init.Parity = UART_PARITY_NONE;
  huart2.Init.Mode = UART_MODE_TX_RX;
  huart2.Init.HwFlowCtl = UART_HWCONTROL_NONE;
  huart2.Init.OverSampling = UART_OVERSAMPLING_16;
  huart2.Init.OneBitSampling = UART_ONE_BIT_SAMPLE_DISABLE;
  huart2.Init.ClockPrescaler = UART_PRESCALER_DIV1;
  huart2.AdvancedInit.AdvFeatureInit = UART_ADVFEATURE_NO_INIT;
  if (HAL_UART_Init(&huart2) != HAL_OK)
  {
    Error_Handler();
  }
  if (HAL_UARTEx_SetTxFifoThreshold(&huart2, UART_TXFIFO_THRESHOLD_1_8) != HAL_OK)
  {
    Error_Handler();
  }
  if (HAL_UARTEx_SetRxFifoThreshold(&huart2, UART_RXFIFO_THRESHOLD_1_8) != HAL_OK)
  {
    Error_Handler();
  }
  if (HAL_UARTEx_DisableFifoMode(&huart2) != HAL_OK)
  {
    Error_Handler();
  }

}

static void MX_USART3_UART_Init(void)
{

  huart3.Instance = USART3;
  huart3.Init.BaudRate = 115200;
  huart3.Init.WordLength = UART_WORDLENGTH_8B;
  huart3.Init.StopBits = UART_STOPBITS_1;
  huart3.Init.Parity = UART_PARITY_NONE;
  huart3.Init.Mode = UART_MODE_TX_RX;
  huart3.Init.HwFlowCtl = UART_HWCONTROL_NONE;
  huart3.Init.OverSampling = UART_OVERSAMPLING_16;
  huart3.Init.OneBitSampling = UART_ONE_BIT_SAMPLE_DISABLE;
  huart3.Init.ClockPrescaler = UART_PRESCALER_DIV1;
  huart3.AdvancedInit.AdvFeatureInit = UART_ADVFEATURE_NO_INIT;
  if (HAL_UART_Init(&huart3) != HAL_OK)
  {
    Error_Handler();
  }
  if (HAL_UARTEx_SetTxFifoThreshold(&huart3, UART_TXFIFO_THRESHOLD_1_8) != HAL_OK)
  {
    Error_Handler();
  }
  if (HAL_UARTEx_SetRxFifoThreshold(&huart3, UART_RXFIFO_THRESHOLD_1_8) != HAL_OK)
  {
    Error_Handler();
  }
  if (HAL_UARTEx_DisableFifoMode(&huart3) != HAL_OK)
  {
    Error_Handler();
  }

}

static void MX_DMA_Init(void)
{

  /* DMA controller clock enable */
  __HAL_RCC_DMAMUX1_CLK_ENABLE();
  __HAL_RCC_DMA1_CLK_ENABLE();

  /* DMA interrupt init */
  /* DMA1_Channel1_IRQn interrupt configuration */
  HAL_NVIC_SetPriority(DMA1_Channel1_IRQn, 0, 0);
  HAL_NVIC_EnableIRQ(DMA1_Channel1_IRQn);

}

static void MX_GPIO_Init(void)
{
  GPIO_InitTypeDef GPIO_InitStruct = {0};

  /* GPIO Ports Clock Enable */
  __HAL_RCC_GPIOC_CLK_ENABLE();
  __HAL_RCC_GPIOA_CLK_ENABLE();
  __HAL_RCC_GPIOB_CLK_ENABLE();

  /*Configure GPIO pin Output Level */
  HAL_GPIO_WritePin(GPIOC, CS2_Pin|CS3_Pin|R_YauxRelay_Pin, GPIO_PIN_RESET);

  /*Configure GPIO pin Output Level */
  HAL_GPIO_WritePin(GPIOA, B_RauxRelay_Pin|Y_BauxRelay_Pin|CS1_Pin, GPIO_PIN_RESET);

  /*Configure GPIO pin Output Level */
  HAL_GPIO_WritePin(GPIOB, B_YauxRelay_Pin|R_BauxRelay_Pin|Y_RauxRelay_Pin|B_mainRelay_Pin
                          |R_mainRelay_Pin|Y_mainRelay_Pin, GPIO_PIN_RESET);

  /*Configure GPIO pins : PC0 ZE_Yphase_Pin ZE_Bphase_Pin ZE_UPS_Pin */
  GPIO_InitStruct.Pin = GPIO_PIN_0|ZE_Yphase_Pin|ZE_Bphase_Pin|ZE_UPS_Pin;
  GPIO_InitStruct.Mode = GPIO_MODE_INPUT;
  GPIO_InitStruct.Pull = GPIO_NOPULL;
  HAL_GPIO_Init(GPIOC, &GPIO_InitStruct);

  /*Configure GPIO pins : CS2_Pin CS3_Pin R_YauxRelay_Pin */
  GPIO_InitStruct.Pin = CS2_Pin|CS3_Pin|R_YauxRelay_Pin;
  GPIO_InitStruct.Mode = GPIO_MODE_OUTPUT_PP;
  GPIO_InitStruct.Pull = GPIO_NOPULL;
  GPIO_InitStruct.Speed = GPIO_SPEED_FREQ_LOW;
  HAL_GPIO_Init(GPIOC, &GPIO_InitStruct);

  /*Configure GPIO pins : B_RauxRelay_Pin Y_BauxRelay_Pin CS1_Pin */
  GPIO_InitStruct.Pin = B_RauxRelay_Pin|Y_BauxRelay_Pin|CS1_Pin;
  GPIO_InitStruct.Mode = GPIO_MODE_OUTPUT_PP;
  GPIO_InitStruct.Pull = GPIO_NOPULL;
  GPIO_InitStruct.Speed = GPIO_SPEED_FREQ_LOW;
  HAL_GPIO_Init(GPIOA, &GPIO_InitStruct);

  /*Configure GPIO pins : B_YauxRelay_Pin R_BauxRelay_Pin Y_RauxRelay_Pin B_mainRelay_Pin
                           R_mainRelay_Pin Y_mainRelay_Pin */
  GPIO_InitStruct.Pin = B_YauxRelay_Pin|R_BauxRelay_Pin|Y_RauxRelay_Pin|B_mainRelay_Pin
                          |R_mainRelay_Pin|Y_mainRelay_Pin;
  GPIO_InitStruct.Mode = GPIO_MODE_OUTPUT_PP;
  GPIO_InitStruct.Pull = GPIO_NOPULL;
  GPIO_InitStruct.Speed = GPIO_SPEED_FREQ_LOW;
  HAL_GPIO_Init(GPIOB, &GPIO_InitStruct);

}

void Error_Handler(void)
{
  __disable_irq();
  while (1)
  {
  }
}
